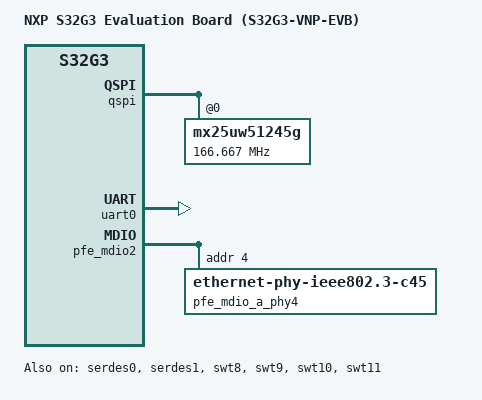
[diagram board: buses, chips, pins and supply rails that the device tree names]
// SPDX-License-Identifier: GPL-2.0-or-later OR MIT
/*
 * Copyright (c) 2021 SUSE LLC
 * Copyright 2019-2021, 2024 NXP
 */

/dts-v1/;

#include "s32g3.dtsi"
#include "s32gxxxa-evb.dtsi"

/ {
	model = "NXP S32G3 Evaluation Board (S32G3-VNP-EVB)";
	compatible = "nxp,s32g399-evb", "nxp,s32g3";
};

&qspi {
	status = "okay";
	mx25uw51245g@0 {
		spi-max-frequency = <166666666>;
	};
};

&serdes0 {
	status = "okay";
};

&serdes1 {
	status = "okay";
};

/* UART (J58) to Micro USB port */
&uart0 {
	status = "okay";
};

&swt8 {
	status = "okay";
};

&swt9 {
	status = "okay";
};

&swt10 {
	status = "okay";
};

&swt11 {
	status = "okay";
};

&pfe_mdio2 {
	/* AQR107 on S32G-PROCEVB-S */
	pfe_mdio_a_phy4: ethernet-phy@4 {
		compatible = "ethernet-phy-ieee802.3-c45";
		reg = <4>;
	};
};

&pfe_netif0 {
	phy-mode = "sgmii";
	phy-handle = <&pfe_mdio_a_phy4>;
};
